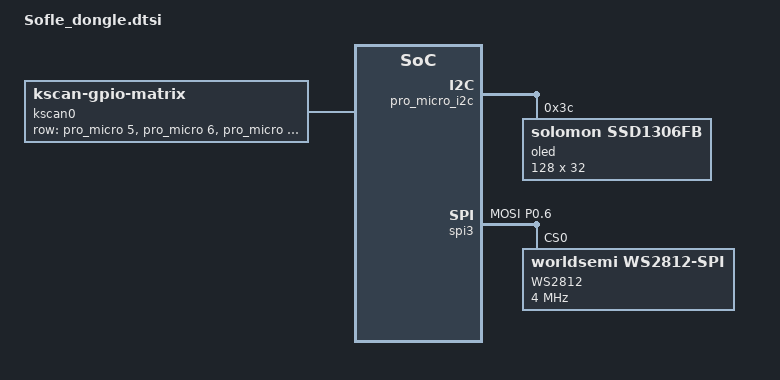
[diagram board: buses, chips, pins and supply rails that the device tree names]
/*
 * Copyright (c) 2020 Pete Johanson, Ryan Cross
 *
 * SPDX-License-Identifier: MIT
 */

#include "Sofle_dongle-layouts.dtsi"
#include <dt-bindings/led/led.h>

/ {
    chosen {
        zephyr,display = &oled;
        zmk,kscan = &kscan0;
        zmk,physical-layout = &layout_0;
    };

    kscan0: kscan {
        compatible = "zmk,kscan-gpio-matrix";
        wakeup-source;

        diode-direction = "col2row";
        row-gpios
            = <&pro_micro 5 (GPIO_ACTIVE_HIGH | GPIO_PULL_DOWN)>
            , <&pro_micro 6 (GPIO_ACTIVE_HIGH | GPIO_PULL_DOWN)>
            , <&pro_micro 7 (GPIO_ACTIVE_HIGH | GPIO_PULL_DOWN)>
            , <&pro_micro 8 (GPIO_ACTIVE_HIGH | GPIO_PULL_DOWN)>
            , <&pro_micro 9 (GPIO_ACTIVE_HIGH | GPIO_PULL_DOWN)>
            ;
    };

    left_encoder: encoder_left {
        compatible = "alps,ec11";
        a-gpios = <&pro_micro 21 (GPIO_ACTIVE_HIGH | GPIO_PULL_UP)>;
        b-gpios = <&pro_micro 20 (GPIO_ACTIVE_HIGH | GPIO_PULL_UP)>;
        steps = <80>;
        status = "disabled";
    };

    right_encoder: encoder_right {
        compatible = "alps,ec11";
        a-gpios = <&pro_micro 20 (GPIO_ACTIVE_HIGH | GPIO_PULL_UP)>;
        b-gpios = <&pro_micro 21 (GPIO_ACTIVE_HIGH | GPIO_PULL_UP)>;
        steps = <80>;
        status = "disabled";
    };

    sensors: sensors {
        compatible = "zmk,keymap-sensors";
        sensors = <&left_encoder &right_encoder>;
        triggers-per-rotation = <20>;
    };
};

// oled,I2c
&pinctrl {
       i2c0_default: i2c0_default {
               group1 {
                       psels = <NRF_PSEL(TWIM_SDA, 0, 17)>,
                               <NRF_PSEL(TWIM_SCL, 0, 20)>;
               };
       };

       i2c0_sleep: i2c0_sleep {
               group1 {
                       psels = <NRF_PSEL(TWIM_SDA, 0, 17)>,
                               <NRF_PSEL(TWIM_SCL, 0, 20)>;
                       low-power-enable;
               };
       };
};

&pro_micro_i2c {
    status = "okay";

    oled: ssd1306@3c {
        compatible = "solomon,ssd1306fb";
        reg = <0x3c>;
        width = <128>;
        height = <32>;
        segment-offset = <0>;
        page-offset = <0>;
        display-offset = <0>;
        multiplex-ratio = <31>;
        segment-remap;
        com-invdir;
        com-sequential;
        inversion-on;
        prechargep = <0x22>;
    };
};

// rgb,SPI
&pinctrl {
    spi3_default: spi3_default {
        group1 {
            psels = <NRF_PSEL(SPIM_MOSI, 0, 6)>;
        };
    };

    spi3_sleep: spi3_sleep {
        group1 {
            psels = <NRF_PSEL(SPIM_MOSI, 0, 6)>;
            low-power-enable;
		};
	};
};

&spi3 {
	compatible = "nordic,nrf-spim";
	status = "okay";

	pinctrl-0 = <&spi3_default>;
	pinctrl-1 = <&spi3_sleep>;
	pinctrl-names = "default", "sleep";


	led_strip: ws2812@0 {
		compatible = "worldsemi,ws2812-spi";
		label = "WS2812";

		/* SPI */
		reg = <0>; /* ignored, but necessary for SPI bindings */
		spi-max-frequency = <4000000>;

		/* WS2812 */
		chain-length = <36>; /* There are per-key RGB, but the first 6 are underglow */
		spi-one-frame = <0x70>;
		spi-zero-frame = <0x40>;
		color-mapping = <LED_COLOR_ID_GREEN LED_COLOR_ID_RED LED_COLOR_ID_BLUE>;
	};
};

/ {
	chosen {
		zmk,underglow = &led_strip;
	};
};
